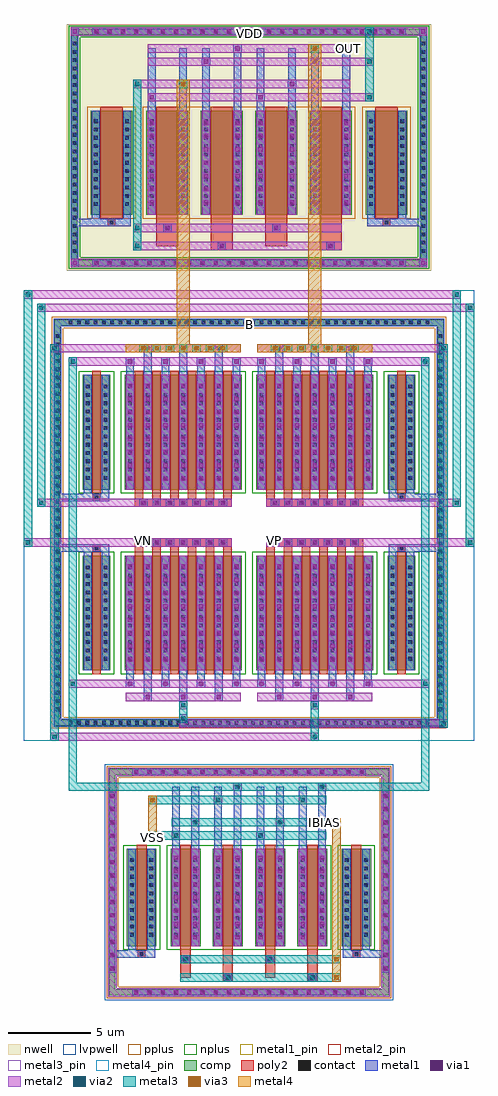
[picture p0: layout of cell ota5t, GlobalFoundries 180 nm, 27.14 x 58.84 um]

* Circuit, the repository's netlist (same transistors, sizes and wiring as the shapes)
* NGSPICE file created from ota5t.ext - technology: gf180mcuD

.subckt ota5t B VSS IBIAS VN VP VDD OUT
X0 a_n1498_n304# VP a_n1276_1876# B nfet_03v3 ad=1.9376p pd=7.48u as=1.9376p ps=7.48u w=6.92u l=0.51u
X1 OUT VN a_n1498_n304# B nfet_03v3 ad=1.9376p pd=7.48u as=1.9376p ps=7.48u w=6.92u l=0.51u
X2 a_n1276_1876# VP a_n1498_n304# B nfet_03v3 ad=1.9376p pd=7.48u as=1.9376p ps=7.48u w=6.92u l=0.51u
X3 a_n1498_n304# IBIAS VSS B nfet_03v3 ad=3.516p pd=12.92u as=3.516p ps=12.92u w=5.86u l=0.61u
X4 a_n1276_1876# a_n1276_1876# VDD VDD pfet_03v3 ad=3.768p pd=13.76u as=3.768p ps=13.76u w=6.28u l=1.33u
X5 a_n1498_n304# VN OUT B nfet_03v3 ad=4.152p pd=15.04u as=1.9376p ps=7.48u w=6.92u l=0.51u
X6 IBIAS IBIAS VSS B nfet_03v3 ad=3.516p pd=12.92u as=3.516p ps=12.92u w=5.86u l=0.61u
X7 a_n1276_1876# VP a_n1498_n304# B nfet_03v3 ad=1.9376p pd=7.48u as=1.9376p ps=7.48u w=6.92u l=0.51u
X8 OUT VN a_n1498_n304# B nfet_03v3 ad=1.9376p pd=7.48u as=1.9376p ps=7.48u w=6.92u l=0.51u
X9 B B B B nfet_03v3 ad=4.0136p pd=15u as=45.704p ps=0.17152m w=6.92u l=0.51u
X10 a_n1498_n304# VP a_n1276_1876# B nfet_03v3 ad=4.152p pd=15.04u as=1.9376p ps=7.48u w=6.92u l=0.51u
X11 a_n1498_n304# VP a_n1276_1876# B nfet_03v3 ad=1.9376p pd=7.48u as=1.9376p ps=7.48u w=6.92u l=0.51u
X12 a_n1498_n304# VP a_n1276_1876# B nfet_03v3 ad=4.152p pd=15.04u as=1.9376p ps=7.48u w=6.92u l=0.51u
X13 B B B B nfet_03v3 ad=4.0136p pd=15u as=0 ps=0 w=6.92u l=0.51u
X14 a_n1498_n304# VN OUT B nfet_03v3 ad=1.9376p pd=7.48u as=1.9376p ps=7.48u w=6.92u l=0.51u
X15 a_n1498_n304# VN OUT B nfet_03v3 ad=4.152p pd=15.04u as=1.9376p ps=7.48u w=6.92u l=0.51u
X16 a_n1276_1876# VP a_n1498_n304# B nfet_03v3 ad=1.9376p pd=7.48u as=1.9376p ps=7.48u w=6.92u l=0.51u
X17 IBIAS IBIAS VSS B nfet_03v3 ad=3.516p pd=12.92u as=3.516p ps=12.92u w=5.86u l=0.61u
X18 VDD VDD VDD VDD pfet_03v3 ad=3.6424p pd=13.72u as=29.6416p ps=0.10992m w=6.28u l=1.33u
X19 OUT a_n1276_1876# VDD VDD pfet_03v3 ad=3.768p pd=13.76u as=3.768p ps=13.76u w=6.28u l=1.33u
X20 a_n1498_n304# VN OUT B nfet_03v3 ad=1.9376p pd=7.48u as=1.9376p ps=7.48u w=6.92u l=0.51u
X21 OUT VN a_n1498_n304# B nfet_03v3 ad=1.9376p pd=7.48u as=1.9376p ps=7.48u w=6.92u l=0.51u
X22 a_n1498_n304# VP a_n1276_1876# B nfet_03v3 ad=1.9376p pd=7.48u as=1.9376p ps=7.48u w=6.92u l=0.51u
X23 OUT VN a_n1498_n304# B nfet_03v3 ad=1.9376p pd=7.48u as=1.9376p ps=7.48u w=6.92u l=0.51u
X24 OUT a_n1276_1876# VDD VDD pfet_03v3 ad=3.768p pd=13.76u as=3.768p ps=13.76u w=6.28u l=1.33u
X25 B B B B nfet_03v3 ad=3.3988p pd=12.88u as=0 ps=0 w=5.86u l=0.61u
X26 a_n1498_n304# VP a_n1276_1876# B nfet_03v3 ad=1.9376p pd=7.48u as=1.9376p ps=7.48u w=6.92u l=0.51u
X27 OUT VN a_n1498_n304# B nfet_03v3 ad=1.9376p pd=7.48u as=4.152p ps=15.04u w=6.92u l=0.51u
X28 B B B B nfet_03v3 ad=4.0136p pd=15u as=0 ps=0 w=6.92u l=0.51u
X29 a_n1276_1876# VP a_n1498_n304# B nfet_03v3 ad=1.9376p pd=7.48u as=4.152p ps=15.04u w=6.92u l=0.51u
X30 a_n1498_n304# VN OUT B nfet_03v3 ad=1.9376p pd=7.48u as=1.9376p ps=7.48u w=6.92u l=0.51u
X31 a_n1276_1876# a_n1276_1876# VDD VDD pfet_03v3 ad=3.768p pd=13.76u as=3.768p ps=13.76u w=6.28u l=1.33u
X32 VDD VDD VDD VDD pfet_03v3 ad=3.6424p pd=13.72u as=0 ps=0 w=6.28u l=1.33u
X33 a_n1276_1876# VP a_n1498_n304# B nfet_03v3 ad=1.9376p pd=7.48u as=1.9376p ps=7.48u w=6.92u l=0.51u
X34 a_n1498_n304# VN OUT B nfet_03v3 ad=1.9376p pd=7.48u as=1.9376p ps=7.48u w=6.92u l=0.51u
X35 a_n1498_n304# IBIAS VSS B nfet_03v3 ad=3.516p pd=12.92u as=3.516p ps=12.92u w=5.86u l=0.61u
X36 a_n1276_1876# VP a_n1498_n304# B nfet_03v3 ad=1.9376p pd=7.48u as=4.152p ps=15.04u w=6.92u l=0.51u
X37 B B B B nfet_03v3 ad=4.0136p pd=15u as=0 ps=0 w=6.92u l=0.51u
X38 OUT VN a_n1498_n304# B nfet_03v3 ad=1.9376p pd=7.48u as=4.152p ps=15.04u w=6.92u l=0.51u
X39 B B B B nfet_03v3 ad=3.3988p pd=12.88u as=0 ps=0 w=5.86u l=0.61u
.ends

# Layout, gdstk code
import gdstk
lib = gdstk.Library(unit=1e-6, precision=5e-09)
def R(c, l, rs):  # rectangles x0, y0, x1, y1
    for r in rs: c.add(gdstk.rectangle(r[:2], r[2:], *l))
def A(c, l, x, y, w, h, nx, ny, dx, dy):  # array of equal rectangles
    R(c, l, [(x+i*dx, y+j*dy, x+i*dx+w, y+j*dy+h) for i in range(nx) for j in range(ny)])
def P(c, l, *ps):  # polygons
    for p in ps: c.add(gdstk.Polygon(p, *l))
nwell = (21, 0)
comp = (22, 0)
poly2 = (30, 0)
pplus = (31, 0)
nplus = (32, 0)
contact = (33, 0)
metal1 = (34, 0)
metal1_pin = (34, 10)
via1 = (35, 0)
metal2 = (36, 0)
metal2_pin = (36, 10)
via2 = (38, 0)
via3 = (40, 0)
metal3 = (42, 0)
metal3_pin = (42, 10)
metal4 = (46, 0)
metal4_pin = (46, 10)
lvpwell = (204, 0)

ota5t = lib.new_cell('ota5t')
R(ota5t, nwell, [(-10.985,22.59,10.985,37.45), (-10.825,22.75,10.825,37.29), (-9.885,23.69,9.885,36.35)])
A(ota5t, comp, -6.98, -21.105, 0.36, 0.36, 18, 2, 0.8, 13.29)
A(ota5t, comp, -8.41, -19.66, 0.36, 0.36, 1, 14, 0, 0.8)
A(ota5t, comp, 8.05, -19.66, 0.36, 0.36, 1, 14, 0, 0.8)
A(ota5t, comp, -4.73, -18.135, 1.81, 5.86, 4, 1, 2.55, 0)
A(ota5t, comp, -10.93, -4.85, 0.36, 0.36, 44, 2, 0.5, 24.12)
A(ota5t, comp, -11.73, -4.04, 0.36, 0.36, 1, 46, 0, 0.5)
A(ota5t, comp, 11.37, -4.04, 0.36, 0.36, 1, 46, 0, 0.5)
A(ota5t, comp, -9.38, 22.87, 0.36, 0.36, 24, 2, 0.8, 13.94)
A(ota5t, comp, -10.705, 23.59, 0.36, 0.36, 1, 26, 0, 0.5)
A(ota5t, comp, 10.345, 23.59, 0.36, 0.36, 1, 26, 0, 0.5)
A(ota5t, comp, -6.185, 25.95, 2.53, 6.28, 4, 1, 3.28, 0)
R(ota5t, comp, [(-6.98,-21.105,6.98,-20.745), (-8.41,-19.66,-8.05,-8.9), (8.05,-19.66,8.41,-8.9), (-7.36,-18.135,-5.59,-12.275), (5.59,-18.135,7.36,-12.275), (-6.98,-7.815,6.98,-7.455), (-10.93,-4.85,10.93,-4.49), (-11.73,-4.04,-11.37,18.82), (11.37,-4.04,11.73,18.82), (-10.02,-1.52,-8.35,5.4), (-7.49,-1.52,-0.43,5.4), (0.43,-1.52,7.49,5.4), (8.35,-1.52,10.02,5.4), (-10.02,9.38,-8.35,16.3), (-7.49,9.38,-0.43,16.3), (0.43,9.38,7.49,16.3), (8.35,9.38,10.02,16.3), (-10.93,19.27,10.93,19.63), (-9.38,22.87,9.38,23.23), (-10.705,23.59,-10.345,36.45), (10.345,23.59,10.705,36.45), (-9.535,25.95,-7.045,32.23), (7.045,25.95,9.535,32.23), (-9.38,36.81,9.38,37.17)])
P(ota5t, comp, [(11.73,19.63),(-11.73,19.63),(-11.73,-4.49),(-11.37,-4.49),(-11.37,19.27),(11.37,19.27),(11.37,-4.49),(-11.37,-4.49),(-11.73,-4.49),(-11.73,-4.85),(11.73,-4.85)],
  [(8.41,-7.455),(-8.41,-7.455),(-8.41,-20.745),(-8.05,-20.745),(-8.05,-7.815),(8.05,-7.815),(8.05,-20.745),(-8.05,-20.745),(-8.41,-20.745),(-8.41,-21.105),(8.41,-21.105)],
  [(10.705,37.17),(-10.705,37.17),(-10.705,23.23),(-10.345,23.23),(-10.345,36.81),(10.345,36.81),(10.345,23.23),(-10.345,23.23),(-10.705,23.23),(-10.705,22.87),(10.705,22.87)])
A(ota5t, poly2, -4.13, -18.375, 0.61, 6.34, 4, 1, 2.55, 0)
A(ota5t, poly2, -6.89, -1.76, 0.51, 7.4, 6, 2, 1.07, 10.9)
A(ota5t, poly2, 1.03, -1.76, 0.51, 7.4, 6, 2, 1.07, 10.9)
A(ota5t, poly2, -6.89, 5.64, 0.51, 0.3, 6, 2, 1.07, 3.2)
A(ota5t, poly2, 1.03, 5.64, 0.51, 0.3, 6, 2, 1.07, 3.2)
A(ota5t, poly2, -6.54, 6.01, 0.36, 0.36, 7, 2, 0.8, 2.4)
A(ota5t, poly2, 1.38, 6.01, 0.36, 0.36, 7, 2, 0.8, 2.4)
A(ota5t, poly2, -5.585, 25.71, 1.33, 6.76, 4, 1, 3.28, 0)
R(ota5t, poly2, [(-1.58,-20.285,-0.97,-19.785), (3.52,-20.285,4.13,-19.785), (-1.455,-20.215,-1.095,-19.855), (3.645,-20.215,4.005,-19.855), (-4.13,-20.035,-3.52,-18.375), (0.97,-20.035,1.58,-18.375), (-1.58,-19.785,-0.97,-18.375), (3.52,-19.785,4.13,-18.375), (-4.13,-19.175,-3.52,-18.675), (0.97,-19.175,1.58,-18.675), (-4.005,-19.105,-3.645,-18.745), (1.095,-19.105,1.455,-18.745), (-6.705,-18.835,-6.245,-18.375), (6.245,-18.835,6.705,-18.375), (-6.655,-18.785,-6.295,-18.425), (6.295,-18.785,6.655,-18.425), (-4.13,-18.675,-3.52,-18.375), (0.97,-18.675,1.58,-18.375), (-6.78,-18.375,-6.17,-12.035), (6.17,-18.375,6.78,-12.035), (-9.44,-1.76,-8.93,5.64), (8.93,-1.76,9.44,5.64), (-9.415,5.64,-8.955,6.1), (8.955,5.64,9.415,6.1), (-9.365,5.69,-9.005,6.05), (9.005,5.69,9.365,6.05), (-6.89,5.94,-1.03,6.44), (1.03,5.94,6.89,6.44), (-6.89,8.34,-1.03,8.84), (1.03,8.34,6.89,8.84), (-9.415,8.68,-8.955,9.14), (8.955,8.68,9.415,9.14), (-9.365,8.73,-9.005,9.09), (9.005,8.73,9.365,9.09), (-9.44,9.14,-8.93,16.54), (8.93,9.14,9.44,16.54), (-2.305,23.81,-0.975,24.31), (4.255,23.81,5.585,24.31), (-1.82,23.88,-1.46,24.24), (4.74,23.88,5.1,24.24), (-5.585,24.06,-4.255,25.71), (0.975,24.06,2.305,25.71), (-2.305,24.31,-0.975,25.71), (4.255,24.31,5.585,25.71), (-5.585,24.91,-4.255,25.41), (0.975,24.91,2.305,25.41), (-5.1,24.98,-4.74,25.34), (1.46,24.98,1.82,25.34), (-8.52,25.25,-8.06,25.71), (8.06,25.25,8.52,25.71), (-8.47,25.3,-8.11,25.66), (8.11,25.3,8.47,25.66), (-5.585,25.41,-4.255,25.71), (0.975,25.41,2.305,25.71), (-8.955,25.71,-7.625,32.47), (7.625,25.71,8.955,32.47)])
A(ota5t, pplus, -6.415, 25.72, 2.99, 6.74, 4, 1, 3.28, 0)
R(ota5t, pplus, [(-9.765,25.72,-6.815,32.46), (-6.415,25.72,6.415,32.46), (6.815,25.72,9.765,32.46)])
P(ota5t, pplus, [(11.89,19.79),(-11.89,19.79),(-11.89,-4.33),(-11.21,-4.33),(-11.21,19.11),(11.21,19.11),(11.21,-4.33),(-11.21,-4.33),(-11.89,-4.33),(-11.89,-5.01),(11.89,-5.01)],
  [(8.57,-7.295),(-8.57,-7.295),(-8.57,-20.585),(-7.89,-20.585),(-7.89,-7.975),(7.89,-7.975),(7.89,-20.585),(-7.89,-20.585),(-8.57,-20.585),(-8.57,-21.265),(8.57,-21.265)])
A(ota5t, nplus, -4.96, -18.365, 2.27, 6.32, 4, 1, 2.55, 0)
R(ota5t, nplus, [(-7.59,-18.365,-5.36,-12.045), (-4.96,-18.365,4.96,-12.045), (5.36,-18.365,7.59,-12.045), (-10.25,-1.75,-8.12,5.63), (-7.72,-1.75,-0.2,5.63), (0.2,-1.75,7.72,5.63), (8.12,-1.75,10.25,5.63), (-10.25,9.15,-8.12,16.53), (-7.72,9.15,-0.2,16.53), (0.2,9.15,7.72,16.53), (8.12,9.15,10.25,16.53)])
P(ota5t, nplus, [(10.865,37.33),(-10.865,37.33),(-10.865,23.39),(-10.185,23.39),(-10.185,36.65),(10.185,36.65),(10.185,23.39),(-10.185,23.39),(-10.865,23.39),(-10.865,22.71),(10.865,22.71)])
A(ota5t, contact, -6.91, -21.035, 0.22, 0.22, 18, 2, 0.8, 13.29)
A(ota5t, contact, -8.34, -19.59, 0.22, 0.22, 1, 14, 0, 0.8)
A(ota5t, contact, 8.12, -19.59, 0.22, 0.22, 1, 14, 0, 0.8)
A(ota5t, contact, -7.17, -17.565, 0.22, 0.22, 1, 10, 0, 0.5)
A(ota5t, contact, -6, -17.565, 0.22, 0.22, 1, 10, 0, 0.5)
A(ota5t, contact, -4.52, -17.565, 0.22, 0.22, 1, 10, 0, 0.5)
A(ota5t, contact, -3.35, -17.565, 0.22, 0.22, 1, 10, 0, 0.5)
A(ota5t, contact, -1.97, -17.565, 0.22, 0.22, 1, 10, 0, 0.5)
A(ota5t, contact, -0.8, -17.565, 0.22, 0.22, 1, 10, 0, 0.5)
A(ota5t, contact, 0.58, -17.565, 0.22, 0.22, 1, 10, 0, 0.5)
A(ota5t, contact, 1.75, -17.565, 0.22, 0.22, 1, 10, 0, 0.5)
A(ota5t, contact, 3.13, -17.565, 0.22, 0.22, 1, 10, 0, 0.5)
A(ota5t, contact, 4.3, -17.565, 0.22, 0.22, 1, 10, 0, 0.5)
A(ota5t, contact, 5.78, -17.565, 0.22, 0.22, 1, 10, 0, 0.5)
A(ota5t, contact, 6.95, -17.565, 0.22, 0.22, 1, 10, 0, 0.5)
A(ota5t, contact, -10.86, -4.78, 0.22, 0.22, 44, 2, 0.5, 24.12)
A(ota5t, contact, -11.66, -3.97, 0.22, 0.22, 1, 46, 0, 0.5)
A(ota5t, contact, 11.44, -3.97, 0.22, 0.22, 1, 46, 0, 0.5)
A(ota5t, contact, -9.83, -0.92, 0.22, 0.22, 1, 12, 0, 0.5)
A(ota5t, contact, -8.76, -0.92, 0.22, 0.22, 1, 12, 0, 0.5)
A(ota5t, contact, -7.28, -0.92, 0.22, 0.22, 7, 12, 1.07, 0.5)
A(ota5t, contact, 0.64, -0.92, 0.22, 0.22, 7, 12, 1.07, 0.5)
A(ota5t, contact, 8.54, -0.92, 0.22, 0.22, 1, 12, 0, 0.5)
A(ota5t, contact, 9.61, -0.92, 0.22, 0.22, 1, 12, 0, 0.5)
A(ota5t, contact, -6.47, 6.08, 0.22, 0.22, 7, 2, 0.8, 2.4)
A(ota5t, contact, 1.45, 6.08, 0.22, 0.22, 7, 2, 0.8, 2.4)
A(ota5t, contact, -9.83, 9.98, 0.22, 0.22, 1, 12, 0, 0.5)
A(ota5t, contact, -8.76, 9.98, 0.22, 0.22, 1, 12, 0, 0.5)
A(ota5t, contact, -7.28, 9.98, 0.22, 0.22, 7, 12, 1.07, 0.5)
A(ota5t, contact, 0.64, 9.98, 0.22, 0.22, 7, 12, 1.07, 0.5)
A(ota5t, contact, 8.54, 9.98, 0.22, 0.22, 1, 12, 0, 0.5)
A(ota5t, contact, 9.61, 9.98, 0.22, 0.22, 1, 12, 0, 0.5)
A(ota5t, contact, -9.31, 22.94, 0.22, 0.22, 24, 2, 0.8, 13.94)
A(ota5t, contact, -10.635, 23.66, 0.22, 0.22, 1, 26, 0, 0.5)
A(ota5t, contact, 10.415, 23.66, 0.22, 0.22, 1, 26, 0, 0.5)
A(ota5t, contact, -9.345, 26.48, 0.22, 0.22, 1, 11, 0, 0.5)
A(ota5t, contact, -7.455, 26.48, 0.22, 0.22, 1, 11, 0, 0.5)
A(ota5t, contact, -5.975, 26.48, 0.22, 0.22, 1, 11, 0, 0.5)
A(ota5t, contact, -4.085, 26.48, 0.22, 0.22, 1, 11, 0, 0.5)
A(ota5t, contact, -2.695, 26.48, 0.22, 0.22, 1, 11, 0, 0.5)
A(ota5t, contact, -0.805, 26.48, 0.22, 0.22, 1, 11, 0, 0.5)
A(ota5t, contact, 0.585, 26.48, 0.22, 0.22, 1, 11, 0, 0.5)
A(ota5t, contact, 2.475, 26.48, 0.22, 0.22, 1, 11, 0, 0.5)
A(ota5t, contact, 3.865, 26.48, 0.22, 0.22, 1, 11, 0, 0.5)
A(ota5t, contact, 5.755, 26.48, 0.22, 0.22, 1, 11, 0, 0.5)
A(ota5t, contact, 7.235, 26.48, 0.22, 0.22, 1, 11, 0, 0.5)
A(ota5t, contact, 9.125, 26.48, 0.22, 0.22, 1, 11, 0, 0.5)
R(ota5t, contact, [(-1.385,-20.145,-1.165,-19.925), (3.715,-20.145,3.935,-19.925), (-3.935,-19.035,-3.715,-18.815), (1.165,-19.035,1.385,-18.815), (-6.585,-18.715,-6.365,-18.495), (6.365,-18.715,6.585,-18.495), (-9.295,5.76,-9.075,5.98), (9.075,5.76,9.295,5.98), (-9.295,8.8,-9.075,9.02), (9.075,8.8,9.295,9.02), (-1.75,23.95,-1.53,24.17), (4.81,23.95,5.03,24.17), (-5.03,25.05,-4.81,25.27), (1.53,25.05,1.75,25.27), (-8.4,25.37,-8.18,25.59), (8.18,25.37,8.4,25.59)])
A(ota5t, metal1, -7.05, -21.175, 0.5, 0.5, 18, 2, 0.8, 13.29)
A(ota5t, metal1, -8.48, -19.73, 0.5, 0.5, 1, 14, 0, 0.8)
A(ota5t, metal1, 7.98, -19.73, 0.5, 0.5, 1, 14, 0, 0.8)
A(ota5t, metal1, -4.66, -17.855, 0.5, 0.5, 1, 7, 0, 0.8)
A(ota5t, metal1, -3.49, -17.855, 0.5, 0.5, 1, 7, 0, 0.8)
A(ota5t, metal1, -2.11, -17.855, 0.5, 0.5, 1, 7, 0, 0.8)
A(ota5t, metal1, -0.94, -17.855, 0.5, 0.5, 1, 7, 0, 0.8)
A(ota5t, metal1, 0.44, -17.855, 0.5, 0.5, 1, 7, 0, 0.8)
A(ota5t, metal1, 1.61, -17.855, 0.5, 0.5, 1, 7, 0, 0.8)
A(ota5t, metal1, 2.99, -17.855, 0.5, 0.5, 1, 7, 0, 0.8)
A(ota5t, metal1, 4.16, -17.855, 0.5, 0.5, 1, 7, 0, 0.8)
A(ota5t, metal1, -7.29, -17.685, 0.46, 0.46, 1, 10, 0, 0.5)
A(ota5t, metal1, -6.12, -17.685, 0.46, 0.46, 1, 10, 0, 0.5)
A(ota5t, metal1, -4.64, -17.685, 0.46, 0.46, 1, 10, 0, 0.5)
A(ota5t, metal1, -3.47, -17.685, 0.46, 0.46, 1, 10, 0, 0.5)
A(ota5t, metal1, -2.09, -17.685, 0.46, 0.46, 1, 10, 0, 0.5)
A(ota5t, metal1, -0.92, -17.685, 0.46, 0.46, 1, 10, 0, 0.5)
A(ota5t, metal1, 0.46, -17.685, 0.46, 0.46, 1, 10, 0, 0.5)
A(ota5t, metal1, 1.63, -17.685, 0.46, 0.46, 1, 10, 0, 0.5)
A(ota5t, metal1, 3.01, -17.685, 0.46, 0.46, 1, 10, 0, 0.5)
A(ota5t, metal1, 4.18, -17.685, 0.46, 0.46, 1, 10, 0, 0.5)
A(ota5t, metal1, 5.66, -17.685, 0.46, 0.46, 1, 10, 0, 0.5)
A(ota5t, metal1, 6.83, -17.685, 0.46, 0.46, 1, 10, 0, 0.5)
A(ota5t, metal1, -10.98, -4.9, 0.46, 0.46, 44, 2, 0.5, 24.12)
A(ota5t, metal1, -11.78, -4.09, 0.46, 0.46, 1, 46, 0, 0.5)
A(ota5t, metal1, 11.32, -4.09, 0.46, 0.46, 1, 46, 0, 0.5)
A(ota5t, metal1, -6.35, -3.37, 0.5, 0.5, 3, 2, 2.14, 21.02)
A(ota5t, metal1, -6.33, -3.37, 0.46, 1.85, 3, 2, 2.14, 19.67)
A(ota5t, metal1, 1.57, -3.37, 0.5, 0.5, 3, 2, 2.14, 21.02)
A(ota5t, metal1, 1.59, -3.37, 0.46, 1.85, 3, 2, 2.14, 19.67)
A(ota5t, metal1, -7.42, -2.57, 0.5, 0.5, 4, 2, 2.14, 19.42)
A(ota5t, metal1, -7.4, -2.57, 0.46, 1.05, 4, 2, 2.14, 18.87)
A(ota5t, metal1, 0.5, -2.57, 0.5, 0.5, 4, 2, 2.14, 19.42)
A(ota5t, metal1, 0.52, -2.57, 0.46, 1.05, 4, 2, 2.14, 18.87)
A(ota5t, metal1, -7.4, -1.52, 0.46, 6.92, 7, 2, 1.07, 10.9)
A(ota5t, metal1, 0.52, -1.52, 0.46, 6.92, 7, 2, 1.07, 10.9)
A(ota5t, metal1, -7.42, -1.11, 0.5, 0.5, 7, 8, 1.07, 0.8)
A(ota5t, metal1, -7.42, -1.11, 0.5, 6.1, 7, 2, 1.07, 10.9)
A(ota5t, metal1, 0.5, -1.11, 0.5, 0.5, 7, 8, 1.07, 0.8)
A(ota5t, metal1, 0.5, -1.11, 0.5, 6.1, 7, 2, 1.07, 10.9)
A(ota5t, metal1, -9.95, -1.04, 0.46, 0.46, 1, 12, 0, 0.5)
A(ota5t, metal1, -8.88, -1.04, 0.46, 0.46, 1, 12, 0, 0.5)
A(ota5t, metal1, -7.4, -1.04, 0.46, 0.46, 7, 12, 1.07, 0.5)
A(ota5t, metal1, 0.52, -1.04, 0.46, 0.46, 7, 12, 1.07, 0.5)
A(ota5t, metal1, 8.42, -1.04, 0.46, 0.46, 1, 12, 0, 0.5)
A(ota5t, metal1, 9.49, -1.04, 0.46, 0.46, 1, 12, 0, 0.5)
A(ota5t, metal1, -6.61, 5.94, 0.5, 0.5, 7, 2, 0.8, 2.4)
A(ota5t, metal1, 1.31, 5.94, 0.5, 0.5, 7, 2, 0.8, 2.4)
A(ota5t, metal1, -7.42, 9.79, 0.5, 0.5, 7, 8, 1.07, 0.8)
A(ota5t, metal1, 0.5, 9.79, 0.5, 0.5, 7, 8, 1.07, 0.8)
A(ota5t, metal1, -9.95, 9.86, 0.46, 0.46, 1, 12, 0, 0.5)
A(ota5t, metal1, -8.88, 9.86, 0.46, 0.46, 1, 12, 0, 0.5)
A(ota5t, metal1, -7.4, 9.86, 0.46, 0.46, 7, 12, 1.07, 0.5)
A(ota5t, metal1, 0.52, 9.86, 0.46, 0.46, 7, 12, 1.07, 0.5)
A(ota5t, metal1, 8.42, 9.86, 0.46, 0.46, 1, 12, 0, 0.5)
A(ota5t, metal1, 9.49, 9.86, 0.46, 0.46, 1, 12, 0, 0.5)
A(ota5t, metal1, -9.45, 22.8, 0.5, 0.5, 24, 2, 0.8, 13.94)
A(ota5t, metal1, -10.755, 23.54, 0.46, 0.46, 1, 26, 0, 0.5)
A(ota5t, metal1, 10.295, 23.54, 0.46, 0.46, 1, 26, 0, 0.5)
A(ota5t, metal1, -9.465, 26.36, 0.46, 0.46, 1, 11, 0, 0.5)
A(ota5t, metal1, -7.575, 26.36, 0.46, 0.46, 1, 11, 0, 0.5)
A(ota5t, metal1, -6.095, 26.36, 0.46, 0.46, 1, 11, 0, 0.5)
A(ota5t, metal1, -4.205, 26.36, 0.46, 0.46, 1, 11, 0, 0.5)
A(ota5t, metal1, -2.815, 26.36, 0.46, 0.46, 1, 11, 0, 0.5)
A(ota5t, metal1, -0.925, 26.36, 0.46, 0.46, 1, 11, 0, 0.5)
A(ota5t, metal1, 0.465, 26.36, 0.46, 0.46, 1, 11, 0, 0.5)
A(ota5t, metal1, 2.355, 26.36, 0.46, 0.46, 1, 11, 0, 0.5)
A(ota5t, metal1, 3.745, 26.36, 0.46, 0.46, 1, 11, 0, 0.5)
A(ota5t, metal1, 5.635, 26.36, 0.46, 0.46, 1, 11, 0, 0.5)
A(ota5t, metal1, 7.115, 26.36, 0.46, 0.46, 1, 11, 0, 0.5)
A(ota5t, metal1, 9.005, 26.36, 0.46, 0.46, 1, 11, 0, 0.5)
A(ota5t, metal1, -6.115, 26.44, 0.5, 0.5, 1, 7, 0, 0.8)
A(ota5t, metal1, -4.225, 26.44, 0.5, 0.5, 1, 7, 0, 0.8)
A(ota5t, metal1, -2.835, 26.44, 0.5, 0.5, 1, 7, 0, 0.8)
A(ota5t, metal1, -0.945, 26.44, 0.5, 0.5, 1, 7, 0, 0.8)
A(ota5t, metal1, 0.445, 26.44, 0.5, 0.5, 1, 7, 0, 0.8)
A(ota5t, metal1, 2.335, 26.44, 0.5, 0.5, 1, 7, 0, 0.8)
A(ota5t, metal1, 3.725, 26.44, 0.5, 0.5, 1, 7, 0, 0.8)
A(ota5t, metal1, 5.615, 26.44, 0.5, 0.5, 1, 7, 0, 0.8)
R(ota5t, metal1, [(-7.05,-21.175,7.05,-20.675), (-1.525,-20.285,-1.025,-19.785), (3.575,-20.285,4.075,-19.785), (-8.48,-19.73,-7.98,-8.83), (7.98,-19.73,8.48,-8.83), (-4.075,-19.175,-3.575,-18.675), (1.025,-19.175,1.525,-18.675), (-8.48,-18.835,-6.705,-18.375), (-7.29,-18.835,-6.83,-18.135), (-7.29,-18.835,-6.705,-18.375), (-6.705,-18.835,-6.245,-18.375), (-6.245,-18.835,-5.66,-18.375), (-6.12,-18.835,-5.66,-18.135), (5.66,-18.835,6.12,-18.135), (5.66,-18.835,6.245,-18.375), (6.245,-18.835,6.705,-18.375), (6.705,-18.835,7.29,-18.375), (6.705,-18.835,8.48,-18.375), (6.83,-18.835,7.29,-18.135), (-7.29,-18.135,-6.83,-12.275), (-6.12,-18.135,-5.66,-12.275), (-4.64,-18.135,-4.18,-12.275), (-3.47,-18.135,-3.01,-12.275), (-2.09,-18.135,-1.63,-12.275), (-0.92,-18.135,-0.46,-12.275), (0.46,-18.135,0.92,-12.275), (1.63,-18.135,2.09,-12.275), (3.01,-18.135,3.47,-12.275), (4.18,-18.135,4.64,-12.275), (5.66,-18.135,6.12,-12.275), (6.83,-18.135,7.29,-12.275), (-4.66,-17.855,-4.16,-12.555), (-3.49,-17.855,-2.99,-12.555), (-2.11,-17.855,-1.61,-12.555), (-0.94,-17.855,-0.44,-12.555), (0.44,-17.855,0.94,-12.555), (1.61,-17.855,2.11,-12.555), (2.99,-17.855,3.49,-12.555), (4.16,-17.855,4.66,-12.555), (-4.64,-12.275,-4.18,-11.225), (-4.64,-12.275,-4.18,-8.525), (-3.47,-12.275,-3.01,-10.425), (-3.47,-12.275,-3.01,-8.525), (-2.09,-12.275,-1.63,-9.075), (-2.09,-12.275,-1.63,-8.525), (-0.92,-12.275,-0.46,-8.275), (-0.92,-12.275,-0.46,-8.525), (0.46,-12.275,0.92,-11.225), (0.46,-12.275,0.92,-8.525), (1.63,-12.275,2.09,-10.425), (1.63,-12.275,2.09,-8.525), (3.01,-12.275,3.47,-9.075), (3.01,-12.275,3.47,-8.525), (4.18,-12.275,4.64,-8.275), (4.18,-12.275,4.64,-8.525), (-4.66,-11.725,-4.16,-11.225), (0.44,-11.725,0.94,-11.225), (-3.49,-10.925,-2.99,-10.425), (1.61,-10.925,2.11,-10.425), (-2.11,-9.575,-1.61,-9.075), (2.99,-9.575,3.49,-9.075), (-0.94,-8.775,-0.44,-8.275), (4.16,-8.775,4.66,-8.275), (-7.05,-7.885,7.05,-7.385), (-11.78,-4.9,-11.37,-4.44), (-11.78,-4.9,-11.32,-4.49), (-11.37,-4.9,11.37,-4.44), (11.32,-4.9,11.78,-4.49), (11.37,-4.9,11.78,-4.44), (-11.78,-4.49,-11.32,19.27), (11.32,-4.49,11.78,19.27), (-9.95,-1.52,-9.49,5.4), (-8.88,-1.52,-8.42,5.4), (8.42,-1.52,8.88,5.4), (9.49,-1.52,9.95,5.4), (-9.95,5.4,-9.49,6.1), (-8.88,5.4,-8.42,6.1), (8.42,5.4,8.88,6.1), (9.49,5.4,9.95,6.1), (-11.78,5.64,-9.415,6.1), (-9.95,5.64,-9.415,6.1), (-9.415,5.64,-8.955,6.1), (-8.955,5.64,-8.42,6.1), (8.42,5.64,8.955,6.1), (8.955,5.64,9.415,6.1), (8.955,5.64,11.78,6.1), (9.415,5.64,9.95,6.1), (-11.78,8.68,-9.415,9.14), (-9.95,8.68,-9.415,9.14), (-9.95,8.68,-9.49,9.38), (-9.415,8.68,-8.955,9.14), (-8.955,8.68,-8.42,9.14), (-8.88,8.68,-8.42,9.38), (8.42,8.68,8.955,9.14), (8.42,8.68,8.88,9.38), (8.955,8.68,9.415,9.14), (8.955,8.68,11.78,9.14), (9.415,8.68,9.95,9.14), (9.49,8.68,9.95,9.38), (-9.95,9.38,-9.49,16.3), (-8.88,9.38,-8.42,16.3), (8.42,9.38,8.88,16.3), (9.49,9.38,9.95,16.3), (-11.78,19.22,-11.37,19.68), (-11.37,19.22,11.37,19.68), (11.37,19.22,11.78,19.68), (-11.78,19.27,-11.32,19.68), (11.32,19.27,11.78,19.68), (-10.755,22.8,-10.255,23.3), (-10.755,22.8,-10.255,23.3), (-10.755,22.8,-10.295,23.23), (-9.45,22.8,9.45,23.3), (10.255,22.8,10.755,23.3), (10.255,22.8,10.755,23.3), (10.295,22.8,10.755,23.23), (-10.755,23.23,-10.295,36.81), (10.295,23.23,10.755,36.81), (-1.89,23.81,-1.39,24.31), (4.67,23.81,5.17,24.31), (-5.17,24.91,-4.67,25.41), (1.39,24.91,1.89,25.41), (-10.755,25.25,-8.52,25.71), (-9.465,25.25,-9.005,25.95), (-9.465,25.25,-8.52,25.71), (-8.52,25.25,-8.06,25.71), (-8.06,25.25,-7.115,25.71), (-7.575,25.25,-7.115,25.95), (7.115,25.25,7.575,25.95), (7.115,25.25,8.06,25.71), (8.06,25.25,8.52,25.71), (8.52,25.25,9.465,25.71), (8.52,25.25,10.755,25.71), (9.005,25.25,9.465,25.95), (-9.465,25.95,-9.005,32.23), (-7.575,25.95,-7.115,32.23), (-6.095,25.95,-5.635,32.23), (-4.205,25.95,-3.745,32.23), (-2.815,25.95,-2.355,32.23), (-0.925,25.95,-0.465,32.23), (0.465,25.95,0.925,32.23), (2.355,25.95,2.815,32.23), (3.745,25.95,4.205,32.23), (5.635,25.95,6.095,32.23), (7.115,25.95,7.575,32.23), (9.005,25.95,9.465,32.23), (-6.115,26.44,-5.615,31.74), (-4.225,26.44,-3.725,31.74), (-2.835,26.44,-2.335,31.74), (-0.945,26.44,-0.445,31.74), (0.445,26.44,0.945,31.74), (2.335,26.44,2.835,31.74), (3.725,26.44,4.225,31.74), (5.615,26.44,6.115,31.74), (-6.095,32.23,-5.635,33.28), (-6.095,32.23,-5.635,35.98), (-4.205,32.23,-3.745,34.08), (-4.205,32.23,-3.745,35.98), (-2.815,32.23,-2.355,35.43), (-2.815,32.23,-2.355,35.98), (-0.925,32.23,-0.465,36.23), (-0.925,32.23,-0.465,35.98), (0.465,32.23,0.925,33.28), (0.465,32.23,0.925,35.98), (2.355,32.23,2.815,34.08), (2.355,32.23,2.815,35.98), (3.745,32.23,4.205,35.43), (3.745,32.23,4.205,35.98), (5.635,32.23,6.095,36.23), (5.635,32.23,6.095,35.98), (-6.115,32.78,-5.615,33.28), (0.445,32.78,0.945,33.28), (-4.225,33.58,-3.725,34.08), (2.335,33.58,2.835,34.08), (-2.835,34.93,-2.335,35.43), (3.725,34.93,4.225,35.43), (-0.945,35.73,-0.445,36.23), (5.615,35.73,6.115,36.23), (-10.755,36.74,-10.255,37.24), (-10.755,36.74,-10.255,37.24), (-9.45,36.74,9.45,37.24), (10.255,36.74,10.755,37.24), (10.255,36.74,10.755,37.24), (-10.755,36.81,-10.295,37.24), (10.295,36.81,10.755,37.24)])
R(ota5t, metal1_pin, [(-0.135,19.22,0.135,19.49), (-0.135,19.22,0.135,19.49)])
A(ota5t, via1, -6.93, -21.055, 0.26, 0.26, 18, 2, 0.8, 13.29)
A(ota5t, via1, -8.36, -19.61, 0.26, 0.26, 1, 14, 0, 0.8)
A(ota5t, via1, 8.1, -19.61, 0.26, 0.26, 1, 14, 0, 0.8)
A(ota5t, via1, -4.54, -17.735, 0.26, 0.26, 1, 7, 0, 0.8)
A(ota5t, via1, -3.37, -17.735, 0.26, 0.26, 1, 7, 0, 0.8)
A(ota5t, via1, -1.99, -17.735, 0.26, 0.26, 1, 7, 0, 0.8)
A(ota5t, via1, -0.82, -17.735, 0.26, 0.26, 1, 7, 0, 0.8)
A(ota5t, via1, 0.56, -17.735, 0.26, 0.26, 1, 7, 0, 0.8)
A(ota5t, via1, 1.73, -17.735, 0.26, 0.26, 1, 7, 0, 0.8)
A(ota5t, via1, 3.11, -17.735, 0.26, 0.26, 1, 7, 0, 0.8)
A(ota5t, via1, 4.28, -17.735, 0.26, 0.26, 1, 7, 0, 0.8)
A(ota5t, via1, -6.23, -3.25, 0.26, 0.26, 3, 2, 2.14, 21.02)
A(ota5t, via1, 1.69, -3.25, 0.26, 0.26, 3, 2, 2.14, 21.02)
A(ota5t, via1, -7.3, -2.45, 0.26, 0.26, 4, 2, 2.14, 19.42)
A(ota5t, via1, 0.62, -2.45, 0.26, 0.26, 4, 2, 2.14, 19.42)
A(ota5t, via1, -7.3, -0.99, 0.26, 0.26, 7, 8, 1.07, 0.8)
A(ota5t, via1, 0.62, -0.99, 0.26, 0.26, 7, 8, 1.07, 0.8)
A(ota5t, via1, -6.49, 6.06, 0.26, 0.26, 7, 2, 0.8, 2.4)
A(ota5t, via1, 1.43, 6.06, 0.26, 0.26, 7, 2, 0.8, 2.4)
A(ota5t, via1, -7.3, 9.91, 0.26, 0.26, 7, 8, 1.07, 0.8)
A(ota5t, via1, 0.62, 9.91, 0.26, 0.26, 7, 8, 1.07, 0.8)
A(ota5t, via1, -9.33, 22.92, 0.26, 0.26, 24, 2, 0.8, 13.94)
A(ota5t, via1, -5.995, 26.56, 0.26, 0.26, 1, 7, 0, 0.8)
A(ota5t, via1, -4.105, 26.56, 0.26, 0.26, 1, 7, 0, 0.8)
A(ota5t, via1, -2.715, 26.56, 0.26, 0.26, 1, 7, 0, 0.8)
A(ota5t, via1, -0.825, 26.56, 0.26, 0.26, 1, 7, 0, 0.8)
A(ota5t, via1, 0.565, 26.56, 0.26, 0.26, 1, 7, 0, 0.8)
A(ota5t, via1, 2.455, 26.56, 0.26, 0.26, 1, 7, 0, 0.8)
A(ota5t, via1, 3.845, 26.56, 0.26, 0.26, 1, 7, 0, 0.8)
A(ota5t, via1, 5.735, 26.56, 0.26, 0.26, 1, 7, 0, 0.8)
R(ota5t, via1, [(-1.405,-20.165,-1.145,-19.905), (3.695,-20.165,3.955,-19.905), (-3.955,-19.055,-3.695,-18.795), (1.145,-19.055,1.405,-18.795), (-4.54,-11.605,-4.28,-11.345), (0.56,-11.605,0.82,-11.345), (-3.37,-10.805,-3.11,-10.545), (1.73,-10.805,1.99,-10.545), (-1.99,-9.455,-1.73,-9.195), (3.11,-9.455,3.37,-9.195), (-0.82,-8.655,-0.56,-8.395), (4.28,-8.655,4.54,-8.395), (-10.635,22.92,-10.375,23.18), (10.375,22.92,10.635,23.18), (-1.77,23.93,-1.51,24.19), (4.79,23.93,5.05,24.19), (-5.05,25.03,-4.79,25.29), (1.51,25.03,1.77,25.29), (-5.995,32.9,-5.735,33.16), (0.565,32.9,0.825,33.16), (-4.105,33.7,-3.845,33.96), (2.455,33.7,2.715,33.96), (-2.715,35.05,-2.455,35.31), (3.845,35.05,4.105,35.31), (-0.825,35.85,-0.565,36.11), (5.735,35.85,5.995,36.11), (-10.635,36.86,-10.375,37.12), (10.375,36.86,10.635,37.12)])
A(ota5t, metal2, -7.05, -21.175, 0.5, 0.5, 18, 2, 0.8, 13.29)
A(ota5t, metal2, -8.48, -19.73, 0.5, 0.5, 1, 14, 0, 0.8)
A(ota5t, metal2, 7.98, -19.73, 0.5, 0.5, 1, 14, 0, 0.8)
A(ota5t, metal2, -4.66, -17.855, 0.5, 0.5, 1, 7, 0, 0.8)
A(ota5t, metal2, -3.49, -17.855, 0.5, 0.5, 1, 7, 0, 0.8)
A(ota5t, metal2, -2.11, -17.855, 0.5, 0.5, 1, 7, 0, 0.8)
A(ota5t, metal2, -0.94, -17.855, 0.5, 0.5, 1, 7, 0, 0.8)
A(ota5t, metal2, 0.44, -17.855, 0.5, 0.5, 1, 7, 0, 0.8)
A(ota5t, metal2, 1.61, -17.855, 0.5, 0.5, 1, 7, 0, 0.8)
A(ota5t, metal2, 2.99, -17.855, 0.5, 0.5, 1, 7, 0, 0.8)
A(ota5t, metal2, 4.16, -17.855, 0.5, 0.5, 1, 7, 0, 0.8)
A(ota5t, metal2, -6.35, -3.37, 0.5, 0.5, 3, 2, 2.14, 21.02)
A(ota5t, metal2, 1.57, -3.37, 0.5, 0.5, 3, 2, 2.14, 21.02)
A(ota5t, metal2, -7.42, -2.57, 0.5, 0.5, 4, 2, 2.14, 19.42)
A(ota5t, metal2, 0.5, -2.57, 0.5, 0.5, 4, 2, 2.14, 19.42)
A(ota5t, metal2, -7.42, -1.52, 0.5, 6.92, 7, 2, 1.07, 10.9)
A(ota5t, metal2, 0.5, -1.52, 0.5, 6.92, 7, 2, 1.07, 10.9)
A(ota5t, metal2, -7.42, -1.11, 0.5, 0.5, 7, 8, 1.07, 0.8)
A(ota5t, metal2, 0.5, -1.11, 0.5, 0.5, 7, 8, 1.07, 0.8)
A(ota5t, metal2, -6.61, 5.94, 0.5, 0.5, 7, 2, 0.8, 2.4)
A(ota5t, metal2, 1.31, 5.94, 0.5, 0.5, 7, 2, 0.8, 2.4)
A(ota5t, metal2, -7.42, 9.79, 0.5, 0.5, 7, 8, 1.07, 0.8)
A(ota5t, metal2, 0.5, 9.79, 0.5, 0.5, 7, 8, 1.07, 0.8)
A(ota5t, metal2, -9.45, 22.8, 0.5, 0.5, 24, 1, 0.8, 0)
A(ota5t, metal2, -6.115, 26.44, 0.5, 0.5, 1, 7, 0, 0.8)
A(ota5t, metal2, -4.225, 26.44, 0.5, 0.5, 1, 7, 0, 0.8)
A(ota5t, metal2, -2.835, 26.44, 0.5, 0.5, 1, 7, 0, 0.8)
A(ota5t, metal2, -0.945, 26.44, 0.5, 0.5, 1, 7, 0, 0.8)
A(ota5t, metal2, 0.445, 26.44, 0.5, 0.5, 1, 7, 0, 0.8)
A(ota5t, metal2, 2.335, 26.44, 0.5, 0.5, 1, 7, 0, 0.8)
A(ota5t, metal2, 3.725, 26.44, 0.5, 0.5, 1, 7, 0, 0.8)
A(ota5t, metal2, 5.615, 26.44, 0.5, 0.5, 1, 7, 0, 0.8)
A(ota5t, metal2, -9.45, 36.74, 0.5, 0.5, 21, 1, 0.8, 0)
A(ota5t, metal2, 7.35, 36.74, 0.5, 0.5, 3, 1, 0.8, 0)
R(ota5t, metal2, [(-8.48,-21.175,-8.05,-20.675), (-8.48,-21.175,-7.98,-20.745), (-8.05,-21.175,8.05,-20.675), (7.98,-21.175,8.48,-20.745), (8.05,-21.175,8.48,-20.675), (-8.48,-20.745,-7.98,-7.815), (7.98,-20.745,8.48,-7.815), (-1.525,-20.285,-1.025,-19.785), (3.575,-20.285,4.075,-19.785), (-4.075,-19.175,-3.575,-18.675), (1.025,-19.175,1.525,-18.675), (-4.66,-18.135,-4.16,-12.275), (-3.49,-18.135,-2.99,-12.275), (-2.11,-18.135,-1.61,-12.275), (-0.94,-18.135,-0.44,-12.275), (0.44,-18.135,0.94,-12.275), (1.61,-18.135,2.11,-12.275), (2.99,-18.135,3.49,-12.275), (4.16,-18.135,4.66,-12.275), (-4.66,-11.725,-4.16,-11.225), (0.44,-11.725,0.94,-11.225), (-3.49,-10.925,-2.99,-10.425), (1.61,-10.925,2.11,-10.425), (-2.11,-9.575,-1.61,-9.075), (2.99,-9.575,3.49,-9.075), (-0.94,-8.775,-0.44,-8.275), (4.16,-8.775,4.66,-8.275), (-8.48,-7.885,-8.05,-7.385), (-8.05,-7.885,8.05,-7.385), (8.05,-7.885,8.48,-7.385), (-8.48,-7.815,-7.98,-7.385), (7.98,-7.815,8.48,-7.385), (-11.97,-5.77,-11.47,-5.27), (-11.97,-5.77,4.21,-5.27), (3.71,-5.77,4.21,-5.27), (-4.21,-4.97,11.97,-4.47), (11.47,-4.97,11.97,-4.47), (-4.21,-4.67,-3.71,-4.17), (-4.21,-3.87,-3.71,-3.37), (3.71,-3.87,4.21,-3.37), (-7.42,-3.37,-0.5,-2.87), (0.5,-3.37,7.42,-2.87), (-10.87,-2.57,-10.37,-2.07), (-10.87,-2.57,-7.42,-2.07), (-7.42,-2.57,-0.5,-2.07), (-0.5,-2.57,0.5,-2.07), (0.5,-2.57,7.42,-2.07), (7.42,-2.57,10.87,-2.07), (10.37,-2.57,10.87,-2.07), (-13.57,5.94,-13.07,6.44), (-13.57,5.94,-1.03,6.44), (-6.89,5.94,-1.03,6.44), (1.03,5.94,6.89,6.44), (1.03,5.94,13.57,6.44), (13.07,5.94,13.57,6.44), (-12.77,8.34,-12.27,8.84), (-12.77,8.34,-6.89,8.84), (-6.89,8.34,-1.03,8.84), (1.03,8.34,6.89,8.84), (6.89,8.34,12.77,8.84), (12.27,8.34,12.77,8.84), (-10.87,16.85,-10.37,17.35), (-10.87,16.85,-7.42,17.35), (-7.42,16.85,-0.5,17.35), (-0.5,16.85,0.5,17.35), (0.5,16.85,7.42,17.35), (7.42,16.85,10.87,17.35), (10.37,16.85,10.87,17.35), (-11.97,17.65,-11.47,18.15), (-11.97,17.65,-7.42,18.15), (-7.42,17.65,-0.5,18.15), (0.5,17.65,7.42,18.15), (7.42,17.65,11.97,18.15), (11.47,17.65,11.97,18.15), (-12.77,20.09,-12.27,20.59), (-12.77,20.09,-10.37,20.59), (-10.37,20.09,10.37,20.59), (10.37,20.09,13.57,20.59), (13.07,20.09,13.57,20.59), (-13.57,20.89,-13.07,21.39), (-13.57,20.89,-10.37,21.39), (-10.37,20.89,10.37,21.39), (10.37,20.89,12.77,21.39), (12.27,20.89,12.77,21.39), (-10.755,22.8,-10.255,23.3), (-10.755,22.8,-10.255,23.3), (-10.755,22.8,-10.345,23.3), (-10.345,22.8,10.345,23.3), (10.255,22.8,10.755,23.3), (10.255,22.8,10.755,23.3), (10.345,22.8,10.755,23.3), (-6.985,23.81,-6.485,24.31), (-6.985,23.81,-5.585,24.31), (-5.585,23.81,5.585,24.31), (-2.305,23.81,-0.975,24.31), (-1.89,23.81,-1.39,24.31), (4.255,23.81,5.585,24.31), (4.67,23.81,5.17,24.31), (-6.985,24.91,-6.485,25.41), (-6.985,24.91,-5.585,25.41), (-5.585,24.91,-4.255,25.41), (-5.585,24.91,5.585,25.41), (-5.17,24.91,-4.67,25.41), (0.975,24.91,2.305,25.41), (1.39,24.91,1.89,25.41), (-6.115,25.95,-5.615,32.23), (-4.225,25.95,-3.725,32.23), (-2.835,25.95,-2.335,32.23), (-0.945,25.95,-0.445,32.23), (0.445,25.95,0.945,32.23), (2.335,25.95,2.835,32.23), (3.725,25.95,4.225,32.23), (5.615,25.95,6.115,32.23), (-6.115,32.78,-5.615,33.28), (-6.115,32.78,-3.725,33.28), (-6.115,32.78,6.115,33.28), (0.445,32.78,0.945,33.28), (0.445,32.78,2.835,33.28), (6.115,32.78,7.515,33.28), (7.015,32.78,7.515,33.28), (-6.985,33.58,-6.485,34.08), (-6.985,33.58,-6.485,34.08), (-6.985,33.58,-6.115,34.08), (-6.115,33.58,-3.725,34.08), (-6.115,33.58,6.115,34.08), (-4.225,33.58,-3.725,34.08), (0.445,33.58,2.835,34.08), (2.335,33.58,2.835,34.08), (-6.115,34.93,6.115,35.43), (-2.835,34.93,-2.335,35.43), (-2.835,34.93,-0.445,35.43), (3.725,34.93,4.225,35.43), (3.725,34.93,6.115,35.43), (6.115,34.93,7.515,35.43), (7.015,34.93,7.515,35.43), (-6.115,35.73,6.115,36.23), (-2.835,35.73,-0.445,36.23), (-0.945,35.73,-0.445,36.23), (3.725,35.73,6.115,36.23), (5.615,35.73,6.115,36.23), (-10.755,36.74,-10.255,37.24), (-10.755,36.74,-10.255,37.24), (-10.755,36.74,-10.345,37.24), (-10.345,36.74,10.345,37.24), (7.015,36.74,7.515,37.24), (10.255,36.74,10.755,37.24), (10.255,36.74,10.755,37.24), (10.345,36.74,10.755,37.24)])
R(ota5t, metal2_pin, [(-6.495,6.17,-6.225,6.44), (-6.495,6.17,-6.225,6.44), (1.425,6.17,1.695,6.44), (1.425,6.17,1.695,6.44), (-4.095,17.88,-3.825,18.15), (3.825,17.88,4.095,18.15), (5.845,35.845,6.115,36.115), (-0.135,36.74,0.135,37.01)])
A(ota5t, via2, -6.49, 17.77, 0.26, 0.26, 7, 1, 0.8, 0)
A(ota5t, via2, 1.43, 17.77, 0.26, 0.26, 7, 1, 0.8, 0)
R(ota5t, via2, [(-1.405,-20.165,-1.145,-19.905), (3.695,-20.165,3.955,-19.905), (-3.955,-19.055,-3.695,-18.795), (1.145,-19.055,1.405,-18.795), (-4.54,-11.605,-4.28,-11.345), (0.56,-11.605,0.82,-11.345), (-3.37,-10.805,-3.11,-10.545), (1.73,-10.805,1.99,-10.545), (-1.99,-9.455,-1.73,-9.195), (3.11,-9.455,3.37,-9.195), (-0.82,-8.655,-0.56,-8.395), (4.28,-8.655,4.54,-8.395), (-11.85,-5.65,-11.59,-5.39), (3.83,-5.65,4.09,-5.39), (11.59,-4.85,11.85,-4.59), (-4.09,-4.55,-3.83,-4.29), (-4.09,-3.75,-3.83,-3.49), (3.83,-3.75,4.09,-3.49), (-10.75,-2.45,-10.49,-2.19), (10.49,-2.45,10.75,-2.19), (-13.45,6.06,-13.19,6.32), (13.19,6.06,13.45,6.32), (-12.65,8.46,-12.39,8.72), (12.39,8.46,12.65,8.72), (-10.75,16.97,-10.49,17.23), (10.49,16.97,10.75,17.23), (-11.85,17.77,-11.59,18.03), (11.59,17.77,11.85,18.03), (-12.65,20.21,-12.39,20.47), (13.19,20.21,13.45,20.47), (-13.45,21.01,-13.19,21.27), (12.39,21.01,12.65,21.27), (-6.865,23.93,-6.605,24.19), (-6.865,25.03,-6.605,25.29), (7.135,32.9,7.395,33.16), (-6.865,33.7,-6.605,33.96), (-4.09,33.7,-3.83,33.96), (7.135,35.05,7.395,35.31), (3.83,35.85,4.09,36.11), (7.135,36.86,7.395,37.12)])
A(ota5t, via3, -6.49, 17.77, 0.26, 0.26, 7, 1, 0.8, 0)
A(ota5t, via3, 1.43, 17.77, 0.26, 0.26, 7, 1, 0.8, 0)
R(ota5t, via3, [(5.15,-20.165,5.41,-19.905), (5.15,-19.055,5.41,-18.795), (-5.94,-11.605,-5.68,-11.345), (5.15,-10.805,5.41,-10.545), (-5.94,-9.455,-5.68,-9.195), (-4.09,33.7,-3.83,33.96), (3.83,35.85,4.09,36.11)])
A(ota5t, metal3, -6.61, 17.65, 0.5, 0.5, 7, 1, 0.8, 0)
A(ota5t, metal3, 1.31, 17.65, 0.5, 0.5, 7, 1, 0.8, 0)
R(ota5t, metal3, [(-4.13,-20.285,4.13,-19.785), (-1.58,-20.285,-0.97,-19.785), (-1.525,-20.285,-1.025,-19.785), (3.52,-20.285,4.13,-19.785), (3.575,-20.285,4.075,-19.785), (4.13,-20.285,5.53,-19.785), (5.03,-20.285,5.53,-19.785), (-4.13,-19.175,-3.52,-18.675), (-4.13,-19.175,4.13,-18.675), (-4.075,-19.175,-3.575,-18.675), (0.97,-19.175,1.58,-18.675), (1.025,-19.175,1.525,-18.675), (4.13,-19.175,5.53,-18.675), (5.03,-19.175,5.53,-18.675), (-6.06,-11.725,-5.56,-11.225), (-6.06,-11.725,-4.66,-11.225), (-4.66,-11.725,-4.16,-11.225), (-4.66,-11.725,-2.99,-11.225), (-4.66,-11.725,4.66,-11.225), (0.44,-11.725,0.94,-11.225), (0.44,-11.725,2.11,-11.225), (-4.66,-10.925,-2.99,-10.425), (-4.66,-10.925,4.66,-10.425), (-3.49,-10.925,-2.99,-10.425), (0.44,-10.925,2.11,-10.425), (1.61,-10.925,2.11,-10.425), (4.66,-10.925,5.53,-10.425), (5.03,-10.925,5.53,-10.425), (5.03,-10.925,5.53,-10.425), (-6.06,-9.575,-5.56,-9.075), (-6.06,-9.575,-4.66,-9.075), (-4.66,-9.575,4.66,-9.075), (-2.11,-9.575,-1.61,-9.075), (-2.11,-9.575,-0.44,-9.075), (2.99,-9.575,3.49,-9.075), (2.99,-9.575,4.66,-9.075), (-10.87,-8.775,-4.66,-8.275), (-10.87,-8.775,-10.37,-2.57), (-4.66,-8.775,4.66,-8.275), (-2.11,-8.775,-0.44,-8.275), (-0.94,-8.775,-0.44,-8.275), (2.99,-8.775,4.66,-8.275), (4.16,-8.775,4.66,-8.275), (4.66,-8.775,10.87,-8.275), (10.37,-8.775,10.87,-2.57), (-11.97,-5.77,-11.47,-5.27), (-11.97,-5.77,-11.47,-5.27), (-11.97,-5.77,-11.47,18.15), (3.71,-5.77,4.21,-5.27), (3.71,-5.27,4.21,-3.87), (11.47,-4.97,11.97,-4.47), (11.47,-4.97,11.97,-4.47), (11.47,-4.97,11.97,18.15), (-4.21,-4.67,-3.71,-4.17), (-4.21,-4.17,-3.71,-3.87), (-4.21,-3.87,-3.71,-3.37), (3.71,-3.87,4.21,-3.37), (-10.87,-2.57,-10.37,-2.07), (-10.87,-2.57,-10.37,-2.07), (-10.87,-2.57,-10.37,17.35), (10.37,-2.57,10.87,-2.07), (10.37,-2.57,10.87,-2.07), (10.37,-2.57,10.87,17.35), (-13.57,5.94,-13.07,6.44), (-13.57,5.94,-13.07,6.44), (-13.57,5.94,-13.07,21.39), (13.07,5.94,13.57,6.44), (13.07,5.94,13.57,6.44), (13.07,5.94,13.57,20.59), (-12.77,8.34,-12.27,8.84), (-12.77,8.34,-12.27,8.84), (-12.77,8.34,-12.27,20.59), (12.27,8.34,12.77,8.84), (12.27,8.34,12.77,8.84), (12.27,8.34,12.77,21.39), (-10.87,16.85,-10.37,17.35), (-10.87,16.85,-10.37,17.35), (10.37,16.85,10.87,17.35), (10.37,16.85,10.87,17.35), (-11.97,17.65,-11.47,18.15), (-11.97,17.65,-11.47,18.15), (11.47,17.65,11.97,18.15), (11.47,17.65,11.97,18.15), (-12.77,20.09,-12.27,20.59), (-12.77,20.09,-12.27,20.59), (13.07,20.09,13.57,20.59), (13.07,20.09,13.57,20.59), (-13.57,20.89,-13.07,21.39), (-13.57,20.89,-13.07,21.39), (12.27,20.89,12.77,21.39), (12.27,20.89,12.77,21.39), (-6.985,23.81,-6.485,24.31), (-6.985,23.81,-6.485,24.31), (-6.985,23.81,-6.485,25.41), (-6.985,24.91,-6.485,25.41), (-6.985,24.91,-6.485,25.41), (-6.985,25.41,-6.485,34.08), (7.015,32.78,7.515,33.28), (7.015,32.78,7.515,33.28), (7.015,32.78,7.515,35.43), (-6.985,33.58,-6.485,34.08), (-6.985,33.58,-6.485,34.08), (-4.21,33.58,-3.71,34.08), (7.015,34.93,7.515,35.43), (7.015,34.93,7.515,35.43), (7.015,35.43,7.515,36.74), (3.71,35.73,4.21,36.23), (7.015,36.74,7.515,37.24)])
P(ota5t, metal3, [(13.57,5.94),(13.57,5.94),(13.57,6.44),(13.57,6.44)],
  [(13.57,20.09),(13.57,20.09),(13.57,20.59),(13.57,20.59)],
  [(-13.07,5.94),(-13.07,5.94),(-13.07,6.44),(-13.07,6.44)],
  [(-13.07,20.89),(-13.07,20.89),(-13.07,21.39),(-13.07,21.39)],
  [(12.77,8.34),(12.77,8.34),(12.77,8.84),(12.77,8.84)],
  [(12.77,20.89),(12.77,20.89),(12.77,21.39),(12.77,21.39)],
  [(-12.27,8.34),(-12.27,8.34),(-12.27,8.84),(-12.27,8.84)],
  [(-12.27,20.09),(-12.27,20.09),(-12.27,20.59),(-12.27,20.59)],
  [(-11.47,-5.77),(-11.47,-5.77),(-11.47,-5.27),(-11.47,-5.27)],
  [(-11.47,17.65),(-11.47,17.65),(-11.47,18.15),(-11.47,18.15)],
  [(11.97,-4.97),(11.97,-4.97),(11.97,-4.47),(11.97,-4.47)],
  [(11.97,17.65),(11.97,17.65),(11.97,18.15),(11.97,18.15)],
  [(-10.37,-2.57),(-10.37,-2.57),(-10.37,-2.07),(-10.37,-2.07)],
  [(-10.37,16.85),(-10.37,16.85),(-10.37,17.35),(-10.37,17.35)],
  [(10.87,-2.57),(10.87,-2.57),(10.87,-2.07),(10.87,-2.07)],
  [(10.87,16.85),(10.87,16.85),(10.87,17.35),(10.87,17.35)],
  [(7.515,32.78),(7.515,32.78),(7.515,33.28),(7.515,33.28)],
  [(7.515,34.93),(7.515,34.93),(7.515,35.43),(7.515,35.43)],
  [(-6.485,23.81),(-6.485,23.81),(-6.485,24.31),(-6.485,24.31)],
  [(-6.485,24.91),(-6.485,24.91),(-6.485,25.41),(-6.485,25.41)])
R(ota5t, metal3_pin, [(4.39,-10.81,4.66,-10.54), (4.39,-10.81,4.66,-10.54)])
A(ota5t, metal4, -6.61, 17.65, 0.5, 0.5, 7, 1, 0.8, 0)
A(ota5t, metal4, 1.31, 17.65, 0.5, 0.5, 7, 1, 0.8, 0)
R(ota5t, metal4, [(5.03,-20.285,5.53,-19.785), (5.03,-20.285,5.53,-19.785), (5.03,-20.285,5.53,-18.675), (5.03,-19.175,5.53,-18.675), (5.03,-19.175,5.53,-18.675), (5.03,-18.675,5.53,-10.425), (-6.06,-11.725,-5.56,-11.225), (-6.06,-11.725,-5.56,-11.225), (-6.06,-11.725,-5.56,-9.075), (5.03,-10.925,5.53,-10.425), (5.03,-10.925,5.53,-10.425), (-6.06,-9.575,-5.56,-9.075), (-6.06,-9.575,-5.56,-9.075), (-7.42,17.65,-0.5,18.15), (-7.22,17.65,-0.7,18.15), (0.5,17.65,7.42,18.15), (0.7,17.65,7.22,18.15), (-4.36,17.9,-3.56,33.83), (3.56,17.9,4.36,35.98), (-4.36,33.58,-3.56,34.08), (-4.21,33.58,-3.71,34.08), (3.56,35.73,4.36,36.23), (3.71,35.73,4.21,36.23)])
P(ota5t, metal4, [(5.53,-20.285),(5.53,-20.285),(5.53,-19.785),(5.53,-19.785)],
  [(5.53,-19.175),(5.53,-19.175),(5.53,-18.675),(5.53,-18.675)],
  [(-5.56,-11.725),(-5.56,-11.725),(-5.56,-11.225),(-5.56,-11.225)],
  [(-5.56,-9.575),(-5.56,-9.575),(-5.56,-9.075),(-5.56,-9.075)])
R(ota5t, metal4_pin, [(-5.945,-11.725,-5.675,-11.455), (-5.945,-11.725,-5.675,-11.455)])
R(ota5t, lvpwell, [(-8.69,-21.385,8.69,-7.175), (-13.57,-5.77,13.57,21.39), (-10.37,-3.49,-0.08,6.56), (0.08,-3.49,10.37,6.56), (-10.37,8.22,-0.08,18.27), (0.08,8.22,10.37,18.27)])
ota5t.add(gdstk.Label('B', (0,19.355), layer=34, texttype=10))
ota5t.add(gdstk.Label('VSS', (-5.81,-11.59), layer=46, texttype=10))
ota5t.add(gdstk.Label('IBIAS', (4.525,-10.675), layer=42, texttype=10))
ota5t.add(gdstk.Label('VN', (-6.36,6.305), layer=36, texttype=10))
ota5t.add(gdstk.Label('VP', (1.56,6.305), layer=36, texttype=10))
ota5t.add(gdstk.Label('VDD', (0,36.875), layer=36, texttype=10))
ota5t.add(gdstk.Label('B', (0,19.355), layer=34, texttype=10))
ota5t.add(gdstk.Label('VSS', (-5.81,-11.59), layer=46, texttype=10))
ota5t.add(gdstk.Label('IBIAS', (4.525,-10.675), layer=42, texttype=10))
ota5t.add(gdstk.Label('OUT', (5.98,35.98), layer=36, texttype=10))
ota5t.add(gdstk.Label('VN', (-6.36,6.305), layer=36, texttype=10))
ota5t.add(gdstk.Label('VP', (1.56,6.305), layer=36, texttype=10))

lib.write_gds('ota5t.gds')
